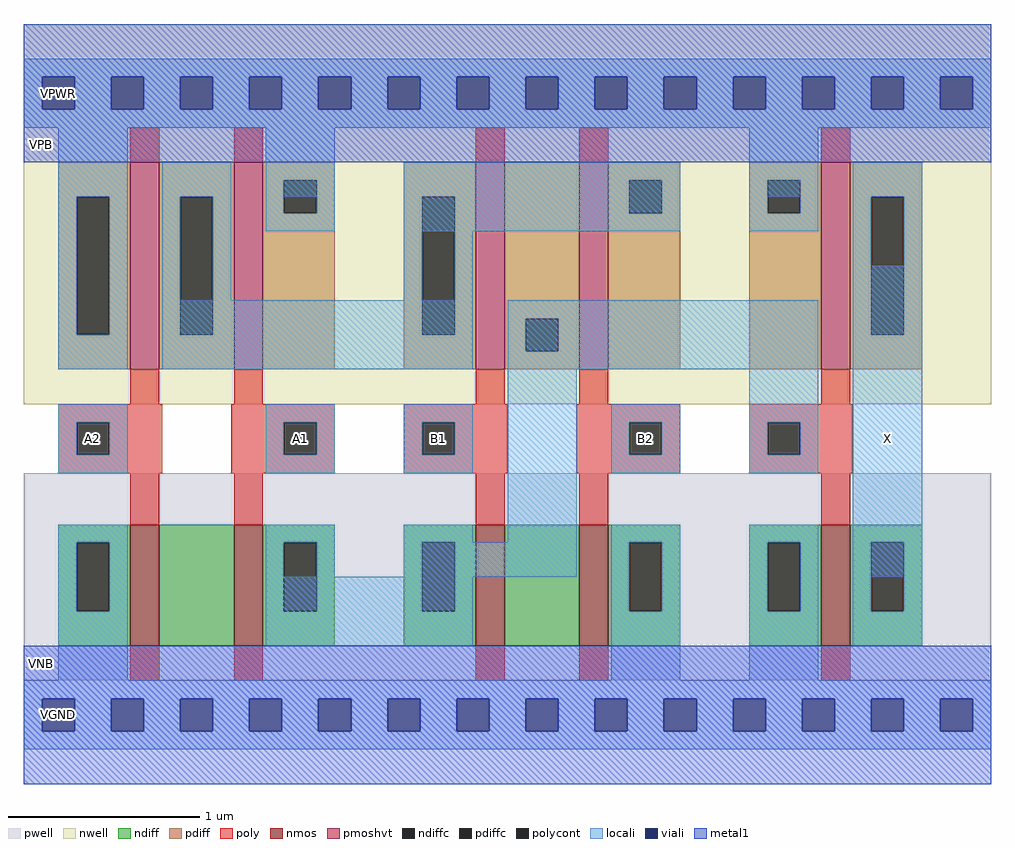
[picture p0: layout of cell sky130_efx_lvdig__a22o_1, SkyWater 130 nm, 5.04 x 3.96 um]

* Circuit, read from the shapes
.subckt sky130_efx_lvdig__a22o_1 X A2 A1 B1 B2 VGND VPWR VPB VNB
XM1 n1 A2 VGND VNB sky130_fd_pr__nfet_01v8 w=0.63 l=0.15
XM2 nmos_n3f5_f2_l150_fnf_0/D0 A1 n1 VNB sky130_fd_pr__nfet_01v8 w=0.63 l=0.15
XM3 n2 B1 nmos_n3f5_f2_l150_fnf_0/D0 VNB sky130_fd_pr__nfet_01v8 w=0.63 l=0.15
XM4 VGND B2 n2 VNB sky130_fd_pr__nfet_01v8 w=0.63 l=0.15
XM5 X nmos_n3f5_f2_l150_fnf_0/D0 VGND VNB sky130_fd_pr__nfet_01v8 w=0.63 l=0.15
XM6 n3 A2 VPWR VPB sky130_fd_pr__pfet_01v8_hvt w=1.08 l=0.15
XM7 VPWR A1 n3 VPB sky130_fd_pr__pfet_01v8_hvt w=1.08 l=0.15
XM8 nmos_n3f5_f2_l150_fnf_0/D0 B1 n3 VPB sky130_fd_pr__pfet_01v8_hvt w=1.08 l=0.15
XM9 n3 B2 nmos_n3f5_f2_l150_fnf_0/D0 VPB sky130_fd_pr__pfet_01v8_hvt w=1.08 l=0.15
XM10 X nmos_n3f5_f2_l150_fnf_0/D0 VPWR VPB sky130_fd_pr__pfet_01v8_hvt w=1.08 l=0.15
.ends

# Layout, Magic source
magic
tech sky130A
magscale 1 2
<< nwell >>
rect 0 288 1008 684
<< pwell >>
rect 0 0 1008 216
<< poly >>
rect 36 269 144 288
rect 36 235 55 269
rect 89 235 144 269
rect 36 216 144 235
rect 216 269 324 288
rect 216 235 271 269
rect 305 235 324 269
rect 216 216 324 235
rect 396 269 504 288
rect 396 235 415 269
rect 449 235 504 269
rect 396 216 504 235
rect 576 269 684 288
rect 576 235 631 269
rect 665 235 684 269
rect 576 216 684 235
rect 756 269 864 288
rect 756 235 775 269
rect 809 235 864 269
rect 756 216 864 235
<< polycont >>
rect 55 235 89 269
rect 271 235 305 269
rect 415 235 449 269
rect 631 235 665 269
rect 775 235 809 269
<< locali >>
rect 0 629 1008 648
rect 0 595 19 629
rect 53 595 91 629
rect 125 595 163 629
rect 197 595 235 629
rect 269 595 307 629
rect 341 595 379 629
rect 413 595 451 629
rect 485 595 523 629
rect 557 595 595 629
rect 629 595 667 629
rect 701 595 739 629
rect 773 595 811 629
rect 845 595 883 629
rect 917 595 955 629
rect 989 595 1008 629
rect 0 576 1008 595
rect 36 504 108 576
rect 252 504 324 576
rect 396 468 684 540
rect 756 504 828 576
rect 144 324 468 396
rect 504 324 828 396
rect 36 269 108 288
rect 36 235 55 269
rect 89 235 108 269
rect 36 216 108 235
rect 252 269 324 288
rect 252 235 271 269
rect 305 235 324 269
rect 252 216 324 235
rect 396 269 468 288
rect 396 235 415 269
rect 449 235 468 269
rect 396 216 468 235
rect 504 144 576 324
rect 612 269 684 288
rect 612 235 631 269
rect 665 235 684 269
rect 612 216 684 235
rect 756 269 828 324
rect 756 235 775 269
rect 809 235 828 269
rect 756 216 828 235
rect 396 108 576 144
rect 864 108 936 432
rect 36 0 108 72
rect 252 36 468 108
rect 612 0 684 72
rect 756 0 828 72
rect 0 -19 1008 0
rect 0 -53 19 -19
rect 53 -53 91 -19
rect 125 -53 163 -19
rect 197 -53 235 -19
rect 269 -53 307 -19
rect 341 -53 379 -19
rect 413 -53 451 -19
rect 485 -53 523 -19
rect 557 -53 595 -19
rect 629 -53 667 -19
rect 701 -53 739 -19
rect 773 -53 811 -19
rect 845 -53 883 -19
rect 917 -53 955 -19
rect 989 -53 1008 -19
rect 0 -72 1008 -53
<< viali >>
rect 19 595 53 629
rect 91 595 125 629
rect 163 595 197 629
rect 235 595 269 629
rect 307 595 341 629
rect 379 595 413 629
rect 451 595 485 629
rect 523 595 557 629
rect 595 595 629 629
rect 667 595 701 629
rect 739 595 773 629
rect 811 595 845 629
rect 883 595 917 629
rect 955 595 989 629
rect 19 -53 53 -19
rect 91 -53 125 -19
rect 163 -53 197 -19
rect 235 -53 269 -19
rect 307 -53 341 -19
rect 379 -53 413 -19
rect 451 -53 485 -19
rect 523 -53 557 -19
rect 595 -53 629 -19
rect 667 -53 701 -19
rect 739 -53 773 -19
rect 811 -53 845 -19
rect 883 -53 917 -19
rect 955 -53 989 -19
<< metal1 >>
rect 0 629 1008 684
rect 0 595 19 629
rect 53 595 91 629
rect 125 595 163 629
rect 197 595 235 629
rect 269 595 307 629
rect 341 595 379 629
rect 413 595 451 629
rect 485 595 523 629
rect 557 595 595 629
rect 629 595 667 629
rect 701 595 739 629
rect 773 595 811 629
rect 845 595 883 629
rect 917 595 955 629
rect 989 595 1008 629
rect 0 540 1008 595
rect 0 -19 1008 36
rect 0 -53 19 -19
rect 53 -53 91 -19
rect 125 -53 163 -19
rect 197 -53 235 -19
rect 269 -53 307 -19
rect 341 -53 379 -19
rect 413 -53 451 -19
rect 485 -53 523 -19
rect 557 -53 595 -19
rect 629 -53 667 -19
rect 701 -53 739 -19
rect 773 -53 811 -19
rect 845 -53 883 -19
rect 917 -53 955 -19
rect 989 -53 1008 -19
rect 0 -108 1008 -53
use nmos_n3f5_f1_l150  nmos_n3f5_f1_l150_0
transform 1 0 792 0 1 36
box -72 -36 180 180
use nmos_n3f5_f2_l150_fnf  nmos_n3f5_f2_l150_fnf_0
transform 1 0 72 0 1 36
box -72 -36 288 180
use nmos_n3f5_f2_l150_fnf  nmos_n3f5_f2_l150_fnf_1
transform 1 0 432 0 1 36
box -72 -36 288 180
use pmos_n6_f1_l150_hvt_tf  pmos_n6_f1_l150_hvt_tf_0
transform 1 0 792 0 1 324
box -72 -36 180 252
use pmos_n6_f2_l150_hvt_fbt  pmos_n6_f2_l150_hvt_fbt_0
transform 1 0 432 0 1 324
box -72 -36 288 252
use pmos_n6_f2_l150_hvt_fft  pmos_n6_f2_l150_hvt_fft_0
transform 1 0 72 0 1 324
box -72 -36 288 252
<< labels >>
flabel locali 864 216 936 288 0 FreeSans 288 0 0 0 X
port 1 nsew signal output
flabel locali 36 216 108 288 0 FreeSans 288 0 0 0 A2
port 2 nsew signal input
flabel locali 252 216 324 288 0 FreeSans 288 0 0 0 A1
port 3 nsew signal input
flabel locali 396 216 468 288 0 FreeSans 288 0 0 0 B1
port 4 nsew signal input
flabel locali 612 216 684 288 0 FreeSans 288 0 0 0 B2
port 5 nsew signal input
flabel metal1 0 -72 72 0 0 FreeSans 288 0 0 0 VGND
port 6 nsew ground bidirectional
flabel metal1 0 576 72 648 0 FreeSans 288 0 0 0 VPWR
port 7 nsew power bidirectional
flabel nwell 0 540 36 576 0 FreeSans 288 0 0 0 VPB
port 8 nsew power bidirectional
flabel pwell 0 0 36 36 0 FreeSans 288 0 0 0 VNB
port 9 nsew ground bidirectional
<< properties >>
string FIXED_BBOX 0 -36 1008 612
<< end >>

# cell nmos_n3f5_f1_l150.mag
magic
tech sky130A
magscale 1 2
<< pwell >>
rect -72 -36 180 180
<< nmos >>
rect 39 0 69 126
<< ndiff >>
rect -36 108 39 126
rect -36 36 -17 108
rect 17 36 39 108
rect -36 0 39 36
rect 69 108 144 126
rect 69 36 91 108
rect 125 36 144 108
rect 69 0 144 36
<< ndiffc >>
rect -17 36 17 108
rect 91 36 125 108
<< poly >>
rect 39 126 69 180
rect 39 -36 69 0
<< locali >>
rect -36 108 36 126
rect -36 36 -17 108
rect 17 36 36 108
rect -36 0 36 36
rect 72 108 144 126
rect 72 36 91 108
rect 125 36 144 108
rect 72 0 144 36
<< labels >>
rlabel locali 0 18 0 18 0 S0
port 1 nsew
rlabel locali 108 18 108 18 0 D0
port 2 nsew
<< end >>

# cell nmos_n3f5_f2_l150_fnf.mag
magic
tech sky130A
magscale 1 2
<< pwell >>
rect -72 -36 288 180
<< nmos >>
rect 39 0 69 126
rect 147 0 177 126
<< ndiff >>
rect -36 108 39 126
rect -36 36 -17 108
rect 17 36 39 108
rect -36 0 39 36
rect 69 0 147 126
rect 177 108 252 126
rect 177 36 199 108
rect 233 36 252 108
rect 177 0 252 36
<< ndiffc >>
rect -17 36 17 108
rect 199 36 233 108
<< poly >>
rect 39 126 69 180
rect 147 126 177 180
rect 39 -36 69 0
rect 147 -36 177 0
<< locali >>
rect -36 108 36 126
rect -36 36 -17 108
rect 17 36 36 108
rect -36 0 36 36
rect 180 108 252 126
rect 180 36 199 108
rect 233 36 252 108
rect 180 0 252 36
<< labels >>
rlabel locali 0 18 0 18 0 S0
port 1 nsew
rlabel locali 216 18 216 18 0 D0
port 2 nsew
<< end >>

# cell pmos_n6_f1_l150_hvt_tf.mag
magic
tech sky130A
magscale 1 2
<< nwell >>
rect -72 -36 180 252
<< pmoshvt >>
rect 39 0 69 216
<< pdiff >>
rect -36 197 39 216
rect -36 163 -17 197
rect 17 163 39 197
rect -36 0 39 163
rect 69 180 144 216
rect 69 36 91 180
rect 125 36 144 180
rect 69 0 144 36
<< pdiffc >>
rect -17 163 17 197
rect 91 36 125 180
<< poly >>
rect 39 216 69 252
rect 39 -36 69 0
<< locali >>
rect -36 197 36 216
rect -36 163 -17 197
rect 17 163 36 197
rect -36 144 36 163
rect 72 180 144 216
rect 72 36 91 180
rect 125 36 144 180
rect 72 0 144 36
<< end >>

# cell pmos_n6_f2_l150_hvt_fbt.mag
magic
tech sky130A
magscale 1 2
<< nwell >>
rect -72 -36 288 252
<< pmoshvt >>
rect 39 0 69 216
rect 147 0 177 216
<< pdiff >>
rect -36 180 39 216
rect -36 36 -17 180
rect 17 36 39 180
rect -36 0 39 36
rect 69 53 147 216
rect 69 19 91 53
rect 125 19 147 53
rect 69 0 147 19
rect 177 197 252 216
rect 177 163 199 197
rect 233 163 252 197
rect 177 0 252 163
<< pdiffc >>
rect -17 36 17 180
rect 91 19 125 53
rect 199 163 233 197
<< poly >>
rect 39 216 69 252
rect 147 216 177 252
rect 39 -36 69 0
rect 147 -36 177 0
<< locali >>
rect -36 180 36 216
rect -36 36 -17 180
rect 17 36 36 180
rect 180 197 252 216
rect 180 163 199 197
rect 233 163 252 197
rect 180 144 252 163
rect -36 0 36 36
rect 72 53 144 72
rect 72 19 91 53
rect 125 19 144 53
rect 72 0 144 19
<< end >>

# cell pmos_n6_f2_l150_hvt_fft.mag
magic
tech sky130A
magscale 1 2
<< nwell >>
rect -72 -36 288 252
<< pmoshvt >>
rect 39 0 69 216
rect 147 0 177 216
<< pdiff >>
rect -36 180 39 216
rect -36 36 -17 180
rect 17 36 39 180
rect -36 0 39 36
rect 69 180 147 216
rect 69 36 91 180
rect 125 36 147 180
rect 69 0 147 36
rect 177 197 252 216
rect 177 163 199 197
rect 233 163 252 197
rect 177 0 252 163
<< pdiffc >>
rect -17 36 17 180
rect 91 36 125 180
rect 199 163 233 197
<< poly >>
rect 39 216 69 252
rect 147 216 177 252
rect 39 -36 69 0
rect 147 -36 177 0
<< locali >>
rect -36 180 36 216
rect -36 36 -17 180
rect 17 36 36 180
rect -36 0 36 36
rect 72 180 144 216
rect 72 36 91 180
rect 125 36 144 180
rect 180 197 252 216
rect 180 163 199 197
rect 233 163 252 197
rect 180 144 252 163
rect 72 0 144 36
<< end >>
